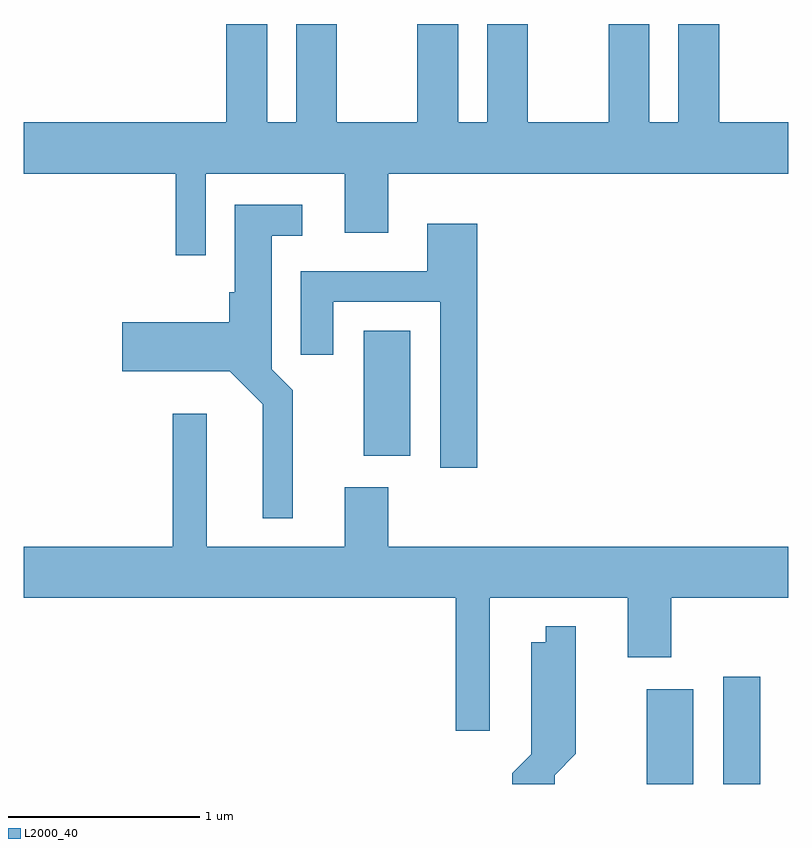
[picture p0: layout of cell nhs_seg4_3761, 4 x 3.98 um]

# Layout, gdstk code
import gdstk
lib = gdstk.Library(unit=1e-6, precision=1e-09)
def R(c, l, rs):  # rectangles x0, y0, x1, y1
    for r in rs: c.add(gdstk.rectangle(r[:2], r[2:], *l))
def P(c, l, *ps):  # polygons
    for p in ps: c.add(gdstk.Polygon(p, *l))
L2000_40 = (2000, 40)

nhs_seg4_3761 = lib.new_cell('nhs_seg4_3761')
R(nhs_seg4_3761, L2000_40, [(298.871,1295.982,299.114,1296.479), (299.271,1295.982,299.464,1296.544), (297.391,1297.701,297.634,1298.354)])
P(nhs_seg4_3761, L2000_40, [(296.564,1299.176),(297.291,1299.176),(297.291,1298.866),(297.519,1298.866),(297.519,1299.176),(299.611,1299.176),(299.611,1299.444),(299.249,1299.444),(299.249,1299.959),(299.036,1299.959),(299.036,1299.444),(298.884,1299.444),(298.884,1299.959),(298.671,1299.959),(298.671,1299.444),(298.249,1299.444),(298.249,1299.959),(298.036,1299.959),(298.036,1299.444),(297.884,1299.444),(297.884,1299.959),(297.671,1299.959),(297.671,1299.444),(297.249,1299.444),(297.249,1299.959),(297.036,1299.959),(297.036,1299.444),(296.884,1299.444),(296.884,1299.959),(296.671,1299.959),(296.671,1299.444),(295.611,1299.444),(295.611,1299.176),(296.406,1299.176),(296.406,1298.748),(296.564,1298.748)],
  [(297.019,1298.042),(296.909,1298.152),(296.909,1298.851),(297.068,1298.851),(297.068,1299.014),(296.716,1299.014),(296.716,1298.554),(296.686,1298.554),(296.686,1298.399),(296.126,1298.399),(296.126,1298.141),(296.689,1298.141),(296.861,1297.969),(296.861,1297.373),(297.019,1297.373)],
  [(297.984,1298.914),(297.721,1298.914),(297.721,1298.664),(297.061,1298.664),(297.061,1298.228),(297.229,1298.228),(297.229,1298.506),(297.791,1298.506),(297.791,1297.636),(297.984,1297.636)],
  [(298.049,1296.956),(298.771,1296.956),(298.771,1296.646),(298.999,1296.646),(298.999,1296.956),(299.611,1296.956),(299.611,1297.224),(297.519,1297.224),(297.519,1297.534),(297.291,1297.534),(297.291,1297.224),(296.569,1297.224),(296.569,1297.919),(296.391,1297.919),(296.391,1297.224),(295.611,1297.224),(295.611,1296.956),(297.871,1296.956),(297.871,1296.261),(298.049,1296.261)],
  [(298.389,1296.029),(298.499,1296.139),(298.499,1296.808),(298.341,1296.808),(298.341,1296.724),(298.266,1296.724),(298.266,1296.137),(298.166,1296.037),(298.166,1295.982),(298.389,1295.982)])

lib.write_gds('nhs_seg4_3761.gds')
